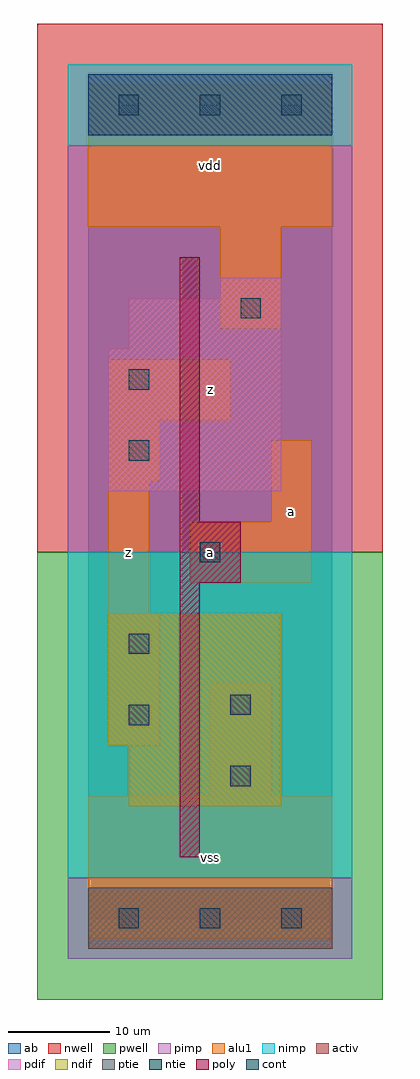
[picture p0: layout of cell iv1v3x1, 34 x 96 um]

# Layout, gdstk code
import gdstk
lib = gdstk.Library(unit=1e-6, precision=1e-09)
def R(c, l, rs):  # rectangles x0, y0, x1, y1
    for r in rs: c.add(gdstk.rectangle(r[:2], r[2:], *l))
def A(c, l, x, y, w, h, nx, ny, dx, dy):  # array of equal rectangles
    R(c, l, [(x+i*dx, y+j*dy, x+i*dx+w, y+j*dy+h) for i in range(nx) for j in range(ny)])
ndif = (3, 0)
pdif = (4, 0)
ntie = (5, 0)
ptie = (6, 0)
cont = (25, 0)
pwell = (41, 0)
nwell = (42, 0)
activ = (43, 0)
pimp = (44, 0)
nimp = (45, 0)
poly = (46, 0)
alu1 = (49, 0)
ab = (63, 0)

iv1v3x1 = lib.new_cell('iv1v3x1')
R(iv1v3x1, ndif, [(4,11,19,17), (2,17,19,30)])
R(iv1v3x1, pdif, [(2,42,19,56), (4,56,19,61), (13,61,19,63)])
R(iv1v3x1, ntie, [(0,77,24,83)])
R(iv1v3x1, ptie, [(0,-3,24,3)])
A(iv1v3x1, cont, 3, -1, 2, 2, 3, 2, 8, 80)
R(iv1v3x1, cont, [(14,13,16,15), (4,19,6,21), (14,20,16,22), (4,26,6,28), (11,35,13,37), (4,45,6,47), (4,52,6,54), (15,59,17,61)])
R(iv1v3x1, pwell, [(-5,-8,29,36)])
R(iv1v3x1, nwell, [(-5,36,29,88)])
R(iv1v3x1, activ, [(0,-3,24,3), (4,11,19,17), (2,17,19,30), (2,42,19,56), (4,56,19,61), (13,61,19,63), (0,77,24,83)])
R(iv1v3x1, pimp, [(-2,-4,26,4), (-2,36,26,76)])
R(iv1v3x1, nimp, [(-2,4,26,36), (-2,76,26,84)])
R(iv1v3x1, poly, [(9,6,11,33), (9,33,15,39), (9,39,11,65)])
R(iv1v3x1, alu1, [(0,-2,24,12), (12,12,18,23), (2,17,7,30), (2,30,6,43), (10,33,22,39), (18,39,22,47), (2,43,7,49), (2,49,14,55), (13,58,19,68), (0,68,24,82)])
R(iv1v3x1, ab, [(0,0,24,80)])
iv1v3x1.add(gdstk.Label('z', (4,36), layer=49, texttype=0))
iv1v3x1.add(gdstk.Label('vss', (12,6), layer=49, texttype=0))
iv1v3x1.add(gdstk.Label('a', (12,36), layer=49, texttype=0))
iv1v3x1.add(gdstk.Label('z', (12,52), layer=49, texttype=0))
iv1v3x1.add(gdstk.Label('vdd', (12,74), layer=49, texttype=0))
iv1v3x1.add(gdstk.Label('a', (20,40), layer=49, texttype=0))

lib.write_gds('iv1v3x1.gds')
